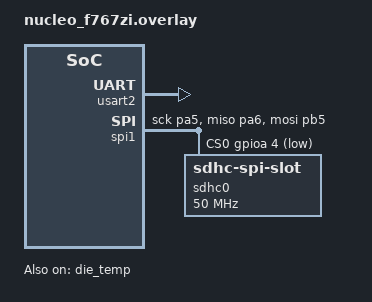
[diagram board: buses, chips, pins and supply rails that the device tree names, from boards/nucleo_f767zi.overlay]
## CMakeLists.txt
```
# SPDX-License-Identifier: Apache-2.0

cmake_minimum_required(VERSION 3.20.0)

find_package(Zephyr REQUIRED HINTS $ENV{ZEPHYR_BASE})
project(my_app)


target_sources(app PRIVATE src/main.c)
```

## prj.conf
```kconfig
# nothing here
CONFIG_MAIN_STACK_SIZE=8192
CONFIG_HEAP_MEM_POOL_SIZE=4096
#CONFIG_COMPILER_OPT="-O0 -g3"
#CONFIG_NO_OPTIMIZATIONS=y
CONFIG_DEBUG=y
CONFIG_DEBUG_OPTIMIZATIONS=y

#CONFIG_LOG=y
#CONFIG_UART_CONSOLE=y
#CONFIG_LOG_BACKEND_UART=y

CONFIG_NETWORKING=y
CONFIG_NET_L2_ETHERNET=y

CONFIG_NET_SOCKETS=y
CONFIG_NET_UDP=y
CONFIG_NET_IPV4=y

CONFIG_NET_CONFIG_SETTINGS=y
CONFIG_NET_CONFIG_MY_IPV4_ADDR="192.168.1.156"
CONFIG_NET_CONFIG_MY_IPV4_NETMASK="255.255.255.0"
CONFIG_NET_CONFIG_MY_IPV4_GW="192.168.1.1"

CONFIG_SERIAL=y
CONFIG_UART_ASYNC_API=y
CONFIG_RING_BUFFER=y

#DRIVE SETTING
CONFIG_SPI=y
CONFIG_DISK_ACCESS=y
CONFIG_DISK_DRIVERS=y
CONFIG_DISK_DRIVER_SDMMC=y


CONFIG_FILE_SYSTEM=y
CONFIG_FILE_SYSTEM_MKFS=y
CONFIG_FAT_FILESYSTEM_ELM=y


#SENSOR
CONFIG_SENSOR=y
CONFIG_CBPRINTF_FP_SUPPORT=y
```

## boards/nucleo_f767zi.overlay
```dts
/* SPDX-License-Identifier: Apache-2.0 */
/* dut: */
&usart6 {
	dmas = <&dma2 7 5 0x28440 0x03>,
		<&dma2 2 5 0x28480 0x03>;
	dma-names = "tx", "rx";
};

&usart2 {
		status = "okay";
};

&dma2 {
	status = "okay";
};

&rcc {		
	apb2-prescaler = < 4 >;
};

&spi1 {
	pinctrl-0 = <&spi1_sck_pa5 &spi1_miso_pa6 &spi1_mosi_pb5>;
    status = "okay";
    cs-gpios = <&gpioa 4 GPIO_ACTIVE_LOW>;
	sdhc0: sdhc@0 {
		compatible = "zephyr,sdhc-spi-slot";
		reg = <0>;
		spi-max-frequency = <50000000>;/*27 místo 50*/
		status = "okay";
		mmc {
			compatible = "zephyr,sdmmc-disk";
			status = "okay";
			disk-name = "SD";
		};
	};
};


&die_temp {
	status = "okay";
};
```

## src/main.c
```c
#include <zephyr/kernel.h>
#include <zephyr/sys/printk.h>

//UART
#include <zephyr/drivers/uart.h>
#include <zephyr/drivers/gpio.h>

//Ethernet
#include <zephyr/net/net_core.h>
#include <zephyr/net/socket.h>
#include <zephyr/net/ethernet.h>
#include <zephyr/net/net_ip.h>

//Button
#include <zephyr/input/input.h>
#define BUTTON_NODE DT_ALIAS(sw0)

#include <string.h>
K_FIFO_DEFINE(fifo_stg);
K_FIFO_DEFINE(fifo_eth);

//UART DEF
#include <zephyr/sys/time_units.h>
#define UART6_NODE DT_NODELABEL(usart6)
#define UART2_NODE DT_NODELABEL(usart2)
const struct device *uart2 = DEVICE_DT_GET(UART2_NODE);
const struct device *uart6 = DEVICE_DT_GET(UART6_NODE);

//LEDS
#define LED0_NODE DT_ALIAS(led0)  // Alias pro LED1 na desce
#define LED1_NODE DT_ALIAS(led1)
#define LED2_NODE DT_ALIAS(led2)
static const struct gpio_dt_spec leds[3] = {
GPIO_DT_SPEC_GET(LED0_NODE, gpios),  // Index 0: červená (r)
GPIO_DT_SPEC_GET(LED1_NODE, gpios),  // Index 1: zelená (g)
GPIO_DT_SPEC_GET(LED2_NODE, gpios)   // Index 2: modrá (b)
};

//ETH
#define SERVER_IP "192.168.1.136"  // IP adresa vašeho PC
#define SERVER_PORT 12345         // Port, na kterém PC naslouchá

//STORAGE
#include <zephyr/fs/fs.h>
#include <zephyr/storage/disk_access.h>
#include <ff.h>
#include <zephyr/device.h>

//TEMP SENSOR
#include <zephyr/drivers/sensor.h>
#define DIE_TEMP DEVICE_DT_GET(DT_NODELABEL(die_temp))
//Button
const struct gpio_dt_spec button = GPIO_DT_SPEC_GET(BUTTON_NODE,gpios);
struct k_poll_signal button_signal;
struct gpio_callback button_cb_data;

struct k_poll_event events[1] = {
K_POLL_EVENT_INITIALIZER(K_POLL_TYPE_SIGNAL,
		K_POLL_MODE_NOTIFY_ONLY,
		&button_signal), };

//ASYN CALLBACK/UART DATA RECIEVER
#define BUFFER_SIZE 32
uint8_t rx_buf[BUFFER_SIZE];
//uint8_t rx_buf2[BUFFER_SIZE];
//char sel_buf=1;
char emsg[32];
int index = 0;
static void uart_callback(const struct device *dev, struct uart_event *evt,
		void *user_data) {
	switch (evt->type) {
	case UART_RX_RDY:
		//printk("Temp recieve= %c\n", *(evt->data.rx.buf + evt->data.rx.offset));
		emsg[index] = *(evt->data.rx.buf + evt->data.rx.offset);
		index++;
		if (*(evt->data.rx.buf + evt->data.rx.offset) == '\0') {
			char *mmsg = k_malloc(index);
			memcpy(mmsg, emsg, index);
			k_fifo_put(&fifo_stg, mmsg);
			mmsg = k_malloc(index);
			memcpy(mmsg, emsg, index);
			index = 0;
			k_fifo_put(&fifo_eth, mmsg);
			printk("Entire Message recieved\n");
		}
		break;
	case UART_RX_BUF_REQUEST:
		uart_rx_buf_rsp(dev, rx_buf, BUFFER_SIZE);
		break;
	case UART_RX_BUF_RELEASED:
		memset(evt->data.rx_buf.buf, 0, BUFFER_SIZE);
		break;
	}
}

//TESTING UART SENDER
void sender_function(void *arg1, void *arg2, void *arg3) {
	int ret;
	char temp_str[20];
	struct sensor_value val;

	while (1) {
		ret = k_poll(events, 1, K_FOREVER);
		if (ret == 0) {
			// Fetch sensor samples
			ret = sensor_sample_fetch(DIE_TEMP);
			if (ret) {
				snprintf(temp_str, sizeof(temp_str), "CPU TEMP: Error");
			} else {
				// Get temperature data
				ret = sensor_channel_get(DIE_TEMP, SENSOR_CHAN_DIE_TEMP, &val);
				if (ret) {
					snprintf(temp_str, sizeof(temp_str), "CPU TEMP: Error");
				} else {
					snprintf(temp_str, sizeof(temp_str), "CPU TEMP: %.1f C",
							sensor_value_to_double(&val));
				}
			}
			for (int i = 0; temp_str[i] != '\0'; i++) {
				uart_poll_out(uart2, temp_str[i]);
				k_msleep(10);
			}
			uart_poll_out(uart2, '\0');
			k_poll_signal_reset(&button_signal);
			events[0].state = K_POLL_STATE_NOT_READY;
		}
	}
}

void button_callback(const struct device *dev, struct gpio_callback *cb,
		uint32_t pins) {
	k_poll_signal_raise(&button_signal, 1);
	printk("BUTTON DOWN\n");
}

// LED

void led_function(void *arg1, void *arg2, void *arg3) {
	for (int i = 0; i < 3; i++) {
		int ret = gpio_pin_configure_dt(&leds[i], GPIO_OUTPUT_ACTIVE);
		if (ret < 0) {
			return;
		}
		k_msleep(500);
		gpio_pin_configure_dt(&leds[i], GPIO_OUTPUT_INACTIVE);
		if (i == 2) {
			i = -1;
		}
	}

}
//STORAGE
#define MKFS_FS_TYPE FS_FATFS
#define MKFS_FLAGS 0

#define DISK_NAME_PHYS "SD"
#define MOUNT_POINT "/"DISK_NAME_PHYS":"
#define FILE_PATH "/SD:/soubor.txt"
static FATFS fat_fs;
static struct fs_mount_t sd_mount =
		{ .type = MKFS_FS_TYPE, .fs_data = &fat_fs, .mnt_point =
				(char*) MOUNT_POINT, .storage_dev = (void*) DISK_NAME_PHYS, };
void stg_function(void *arg1, void *arg2, void *arg3) {
	struct fs_file_t file;
	int ret = 0;
	char *msg;
	const char newline = '\n';
	ret = disk_access_init("SD");
	if (ret != 0) {
		printk("Chyba inicializace disku: %d\n", ret);
		return;
	}

	ret = fs_mount(&sd_mount);
	if (ret != 0) {
		printk("Chyba připojení FS: %d\n", ret);

		printk("Formátování SD karty na FS...\n");
		ret = fs_mkfs(FS_FATFS, (uintptr_t) &sd_mount, NULL, 0);
		if (ret != 0) {
			printk("Chyba formátování: %d\n", ret);
			return;
		}

		ret = fs_mount(&sd_mount);
		if (ret != 0) {
			printk("Chyba připojení po formátování: %d\n", ret);
			return;
		}
	}

	printk("FS připojen úspěšně!\n");

	while (1) {
		msg = k_fifo_get(&fifo_stg, K_FOREVER);

		fs_file_t_init(&file);

		ret = fs_open(&file, FILE_PATH, FS_O_CREATE | FS_O_WRITE | FS_O_APPEND);
		if (ret != 0) {
			printk("Chyba při otevírání souboru: %d\n", ret);
			k_free(msg); /* Uvolnění paměti pro msg */
			fs_unmount(&sd_mount);
			return;
		}

		ret = fs_write(&file, msg, strlen(msg));
		if (ret < 0) {
			printk("Chyba při zápisu msg do souboru: %d\n", ret);
		} else {
			ret = fs_write(&file, &newline, sizeof(newline));
			if (ret < 0) {
				printk("Chyba při zápisu nového řádku: %d\n", ret);
			} else {
				printk("Text z msg úspěšně zapsán do %s\n", FILE_PATH);
			}
		}

		fs_close(&file);
		k_free(msg);
	}
	fs_unmount(&sd_mount);
}

//ETH
void eth_function(void *arg1, void *arg2, void *arg3) {
	int sock;
	struct sockaddr_in addr;
	addr.sin_family = AF_INET;
	addr.sin_port = htons(SERVER_PORT);
	char *msg;
	net_addr_pton(AF_INET, SERVER_IP, &addr.sin_addr);
	while (1) {
		sock = zsock_socket(AF_INET, SOCK_DGRAM, IPPROTO_UDP);
		if (!(sock < 0)) {
			msg = k_fifo_get(&fifo_eth, K_FOREVER);
			zsock_sendto(sock, msg, strlen(msg), 0, (struct sockaddr*) &addr,
					sizeof(addr));
			k_free(msg);
			zsock_close(sock);
		}
	}
}

//defined Threads

K_THREAD_DEFINE(sender_thread_id, 1024, sender_function, NULL, NULL, NULL, 0, 0,0);
K_THREAD_DEFINE(eth_thread_id, 2048, eth_function, NULL, NULL, NULL, 0, 0, 0);
K_THREAD_DEFINE(led_thread_id, 1024, led_function, NULL, NULL, NULL, 0, 0, 0);
K_THREAD_DEFINE(stg_thread_id, 2048, stg_function, NULL, NULL, NULL, 0, 0, 0);

int main(void) {
	//Button setup
	gpio_pin_configure_dt(&button, GPIO_INPUT);
	gpio_pin_interrupt_configure_dt(&button, GPIO_INT_EDGE_FALLING);
	gpio_init_callback(&button_cb_data, button_callback, BIT(button.pin));
	gpio_add_callback_dt(&button, &button_cb_data);
	k_poll_signal_init(&button_signal);
	//uart setup
	uart_callback_set(uart6, uart_callback, NULL);
	uart_rx_enable(uart6, rx_buf, BUFFER_SIZE, 0);
	while (1) {
		k_msleep(100);
	}
	return 0;
}
```
